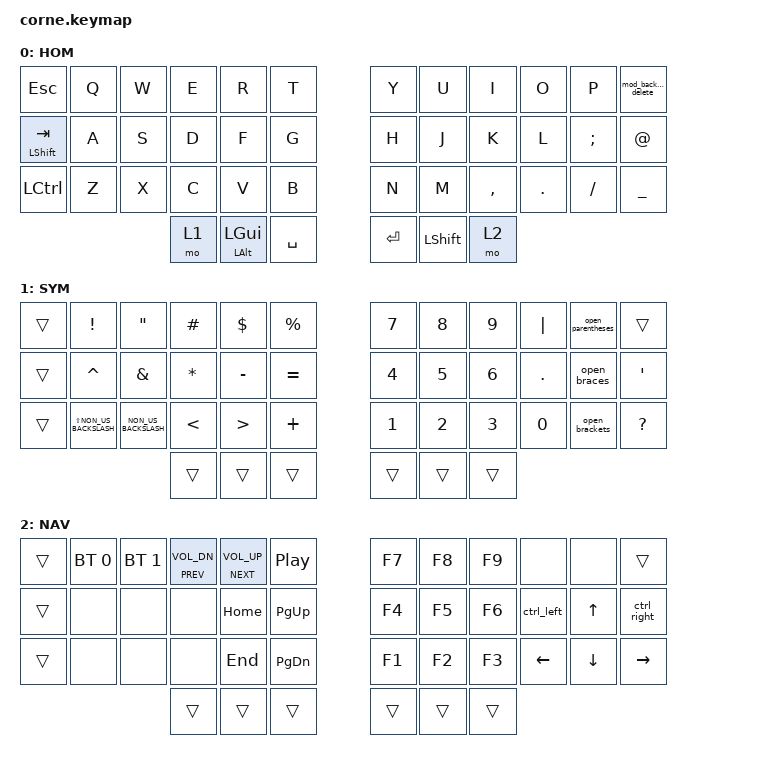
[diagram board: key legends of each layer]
/*
 * Copyright (c) 2020 The ZMK Contributors
 *
 * SPDX-License-Identifier: MIT
 */

#include <behaviors.dtsi>
#include <dt-bindings/zmk/bt.h>
#include <dt-bindings/zmk/keys.h>

/ {
    behaviors {
        tp: tap_preferred {
            compatible = "zmk,behavior-hold-tap";
            label = "TAP_PREFERRED";
            #binding-cells = <2>;
            tapping-term-ms = <150>;
            quick-tap-ms = <0>;
            flavor = "tap-preferred";
            bindings =
                <&kp>,
                <&kp>;
        };
        mod_backspace_delete: mod_backspace_delete {
            compatible = "zmk,behavior-mod-morph";
            label = "MOD_BACKSPACE_DELETE";
            bindings =
                <&kp BACKSPACE>,
                <&kp DELETE>;

            #binding-cells = <0>;
            mods = <(MOD_RSFT|MOD_LSFT)>;
        };
    };

    macros {
        ctrl_left: ctrl_left {
            compatible = "zmk,behavior-macro";
            label = "CTRL_LEFT";
            #binding-cells = <0>;
            bindings =
                <&kp LC(LEFT)>,
                <&macro_tap>;
        };
        ctrl_right: ctrl_right {
            compatible = "zmk,behavior-macro";
            label = "CTRL_RIGHT";
            #binding-cells = <0>;
            bindings =
                <&kp LC(RIGHT)>,
                <&macro_tap>;
        };
        ctrl_shift: ctrl_shift {
            compatible = "zmk,behavior-macro";
            label = "CTRL_SHIFT";
            #binding-cells = <0>;
            bindings =
                <&kp LCTRL &kp LEFT_SHIFT>,
                <&macro_press>;
        };
        open_parentheses: open_parentheses {
            compatible = "zmk,behavior-macro";
            label = "OPEN_PARENTHESES";
            #binding-cells = <0>;
            bindings = <&kp LEFT_PARENTHESIS &kp RIGHT_PARENTHESIS &kp LEFT_ARROW>;
        };
        open_braces: open_braces {
            compatible = "zmk,behavior-macro";
            label = "OPEN_BRACES";
            #binding-cells = <0>;
            bindings = <&kp LEFT_BRACE &kp RIGHT_BRACE &kp LEFT_ARROW>;
        };
        open_brackets: open_brackets {
            compatible = "zmk,behavior-macro";
            label = "OPEN_BRACKETS";
            #binding-cells = <0>;
            bindings = <&kp LEFT_BRACKET &kp RIGHT_BRACKET &kp LEFT_ARROW>;
        };
        sterling_unicode: sterling_unicode {
            compatible = "zmk,behavior-macro";
            label = "STERLING_UNICODE";
            #binding-cells = <0>;
            bindings =
                <&macro_press>,
                <&kp LEFT_ALT>,
                <&macro_tap>,
                <&kp KP_N0 &kp KP_N1 &kp KP_N6 &kp KP_N3>,
                <&macro_release>,
                <&kp LEFT_ALT>;
        };
    };

    keymap {
        compatible = "zmk,keymap";

        Home {
            // -----------------------------------------------------------------------------------------
            // | TAB  |  Q  |  W  |  E  |  R  |    T    |   |  Y  |  U   |  I  |  O  |  P  | ESC |
            // | CTRL |  A  |  S  |  D  |  F  |    G    |   |  H  |  J   |  K  |  L  |  ;  |  '   |
            // | SHFT |  Z  |  X  |  C  |  V  |    B    |   |  N  |  M   |  ,  |  .  |  /  | SHFT |
            //                    | GUI | LWR | ALT/ENT |   | HYPER/SPC | BKSP  | RSE |

            bindings = <
&kp ESCAPE          &kp Q  &kp W  &kp E  &kp R                  &kp T        &kp Y      &kp U           &kp I      &kp O    &kp P     &mod_backspace_delete
&mt LEFT_SHIFT TAB  &kp A  &kp S  &kp D  &kp F                  &kp G        &kp H      &kp J           &kp K      &kp L    &kp SEMI  &kp AT_SIGN
&kp LEFT_CONTROL    &kp Z  &kp X  &kp C  &kp V                  &kp B        &kp N      &kp M           &kp COMMA  &kp DOT  &kp FSLH  &kp UNDERSCORE
                                  &mo 1  &tp LEFT_ALT LEFT_GUI  &kp SPACE    &kp ENTER  &kp LEFT_SHIFT  &mo 2
            >;

            label = "HOM";
        };

        Symbols {
            // -----------------------------------------------------------------------------------------
            // |      |  !  |  @  |  #  |  $  |    %     |   |  ^  |  &  |  *  |  (  |  )  |   \   |
            // |      |  1  |  2  |  3  |  4  |    5     |   |  -  |  =  |  `  |  [  |  ]  |  "|"  |
            // | SHFT |  6  |  7  |  8  |  9  |    0     |   |  _  |  +  |  ~  |  {  |  }  | RSHFT |
            //                     | GUI |     | ALT/ENT |   | HYPER/SPACE | BKSP |    |

            bindings = <
&trans  &kp EXCL                  &kp DOUBLE_QUOTES     &kp HASH       &kp DOLLAR        &kp PERCENT    &kp NUMBER_7  &kp NUMBER_8  &kp NUMBER_9  &kp PIPE    &open_parentheses  &trans
&trans  &kp CARET                 &kp AMPERSAND         &kp ASTERISK   &kp MINUS         &kp EQUAL      &kp NUMBER_4  &kp NUMBER_5  &kp NUMBER_6  &kp PERIOD  &open_braces       &kp SQT
&trans  &kp LS(NON_US_BACKSLASH)  &kp NON_US_BACKSLASH  &kp LESS_THAN  &kp GREATER_THAN  &kp PLUS       &kp NUMBER_1  &kp NUMBER_2  &kp NUMBER_3  &kp N0      &open_brackets     &kp QUESTION
                                                        &trans         &trans            &trans         &trans        &trans        &trans
            >;

            label = "SYM";
        };

        Navigation {
            // -----------------------------------------------------------------------------------------
            // |       |  F1  |  F2  |  F3  |  F4  |  F5 |            |  F6  |  F7  |  F8  |  F9  |  F10  |   |
            // |       | Prev | Next | Vol - | Vol + | Play/Pause |   |      | LFT | DWN |  UP | RGT |     |     |
            // | BTCLR | BT1 | BT2 | BT3 | BT4 | BT5 |   |            |     |     |     |     |     |     |
            //                    |     |     |    |                  |     |     |     |

            bindings = <
&trans  &bt BT_SEL 0  &bt BT_SEL 1  &mt C_PREV C_VOL_DN  &mt C_NEXT C_VOL_UP  &kp C_PP         &kp F7  &kp F8  &kp F9  &none           &none         &trans
&trans  &none         &none         &none                &kp HOME             &kp PAGE_UP      &kp F4  &kp F5  &kp F6  &ctrl_left      &kp UP_ARROW  &ctrl_right
&trans  &none         &none         &none                &kp END              &kp PAGE_DOWN    &kp F1  &kp F2  &kp F3  &kp LEFT_ARROW  &kp DOWN      &kp RIGHT
                                    &trans               &trans               &trans           &trans  &trans  &trans
            >;

            label = "NAV";
        };
    };
};
